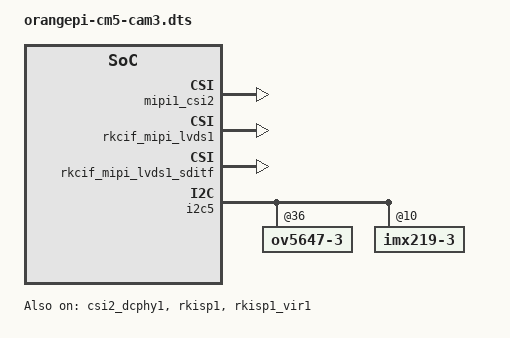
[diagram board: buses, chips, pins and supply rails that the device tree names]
/dts-v1/;
/plugin/;

/ {
	fragment@0 {
		target = <&csi2_dcphy1>;

		__overlay__ {
			status = "okay";
		};
	};

	fragment@1 {
		target = <&mipi1_csi2>;

		__overlay__ {
			status = "okay";
		};
	};

	fragment@2 {
		target = <&rkcif_mipi_lvds1>;

		__overlay__ {
			status = "okay";
		};
	};

	fragment@3 {
		target = <&rkcif_mipi_lvds1_sditf>;

		__overlay__ {
			status = "okay";
		};
	};

	fragment@4 {
		target = <&rkisp1>;

		__overlay__ {
			status = "okay";
		};
	};

	fragment@5 {
		target = <&rkisp1_vir1>;

		__overlay__ {
			status = "okay";
		};
	};

	fragment@6 {
		target = <&i2c5>;

		__overlay__ {
			status = "okay";

			ov5647-3@36 {
				status = "okay";
			};

			imx219-3@10 {
				status = "okay";
			};
		};
	};
};
